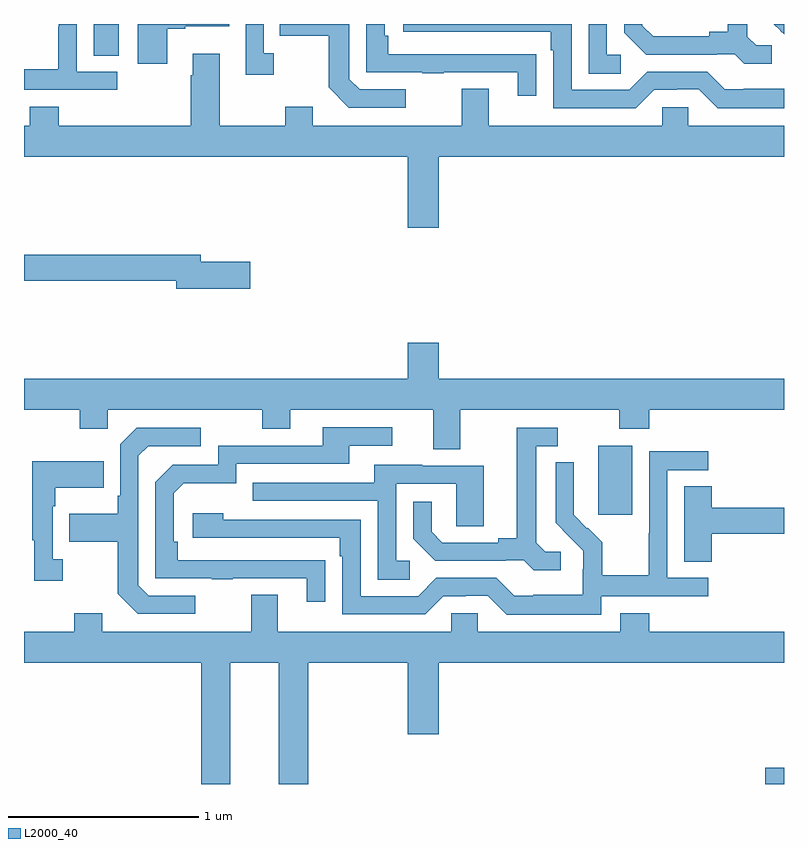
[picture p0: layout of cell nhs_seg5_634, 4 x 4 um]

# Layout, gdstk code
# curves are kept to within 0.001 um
import gdstk
lib = gdstk.Library(unit=1e-6, precision=1e-09)
def R(c, l, rs):  # rectangles x0, y0, x1, y1
    for r in rs: c.add(gdstk.rectangle(r[:2], r[2:], *l))
def P(c, l, *ps):  # polygons
    for p in ps: c.add(gdstk.Polygon(p, *l))
L2000_40 = (2000, 40)

nhs_seg5_634 = lib.new_cell('nhs_seg5_634')
R(nhs_seg5_634, L2000_40, [(154.902,846.799,155,846.884), (154.022,848.217,154.201,848.578), (151.367,850.633,151.498,850.799)])
P(nhs_seg5_634, L2000_40, [(151.753,850.775),(151.849,850.775),(151.849,850.787),(152.08,850.787),(152.08,850.799),(151.598,850.799),(151.598,850.59),(151.753,850.59)],
  [(153.01,850.455),(152.766,850.455),(152.712,850.509),(152.712,850.799),(152.347,850.799),(152.347,850.738),(152.604,850.738),(152.604,850.465),(152.709,850.359),(153.01,850.359)],
  [(152.314,850.646),(152.262,850.646),(152.262,850.799),(152.166,850.799),(152.166,850.533),(152.314,850.533)],
  [(155,850.459),(154.789,850.459),(154.789,850.455),(154.689,850.455),(154.596,850.548),(154.281,850.548),(154.185,850.452),(153.882,850.452),(153.882,850.799),(152.997,850.799),(152.997,850.758),(153.773,850.758),(153.773,850.661),(153.786,850.661),(153.786,850.356),(154.221,850.356),(154.317,850.452),(154.436,850.452),(154.436,850.455),(154.551,850.455),(154.651,850.355),(155,850.355)],
  [(155,850.799),(154.947,850.799),(154.981,850.765),(154.98,850.764),(155,850.744)],
  [(154.141,850.638),(154.068,850.638),(154.068,850.799),(153.972,850.799),(153.972,850.537),(154.141,850.537)],
  [(153.695,850.64),(153.593,850.64),(153.593,850.641),(152.918,850.641),(152.918,850.738),(152.898,850.738),(152.898,850.799),(152.802,850.799),(152.802,850.545),(153.097,850.545),(153.097,850.54),(153.209,850.54),(153.209,850.545),(153.599,850.545),(153.599,850.422),(153.695,850.422)],
  [(154.936,850.686),(154.854,850.686),(154.807,850.733),(154.807,850.799),(154.703,850.799),(154.703,850.757),(154.607,850.757),(154.607,850.734),(154.312,850.734),(154.255,850.791),(154.255,850.799),(154.158,850.799),(154.158,850.754),(154.274,850.638),(154.646,850.638),(154.646,850.641),(154.74,850.641),(154.792,850.589),(154.936,850.589)],
  [(151.492,850.548),(151.278,850.548),(151.278,850.799),(151.182,850.799),(151.182,850.784),(151.18,850.784),(151.18,850.561),(151,850.561),(151,850.452),(151.492,850.452)],
  [(153.184,850.1),(155,850.1),(155,850.264),(154.497,850.264),(154.497,850.362),(154.359,850.362),(154.359,850.264),(153.445,850.264),(153.445,850.459),(153.305,850.459),(153.305,850.264),(152.521,850.264),(152.521,850.363),(152.374,850.363),(152.374,850.264),(152.029,850.264),(152.029,850.642),(151.889,850.642),(151.889,850.529),(151.877,850.529),(151.877,850.264),(151.184,850.264),(151.184,850.363),(151.031,850.363),(151.031,850.264),(151,850.264),(151,850.1),(153.02,850.1),(153.02,849.726),(153.184,849.726)],
  [(152.191,849.548),(151.93,849.548),(151.93,849.584),(151,849.584),(151,849.448),(151.802,849.448),(151.802,849.406),(152.191,849.406)],
  [(153.184,849.121),(153.02,849.121),(153.02,848.932),(151,848.932),(151,848.768),(151.294,848.768),(151.294,848.669),(151.44,848.669),(151.44,848.768),(152.254,848.768),(152.254,848.669),(152.401,848.669),(152.401,848.768),(153.155,848.768),(153.155,848.56),(153.295,848.56),(153.295,848.768),(154.132,848.768),(154.132,848.669),(154.292,848.669),(154.292,848.768),(155,848.768),(155,848.932),(153.184,848.932)],
  [(152.585,847.976),(151.808,847.977),(151.808,848.074),(151.788,848.074),(151.788,848.328),(151.841,848.381),(152.118,848.381),(152.118,848.484),(152.713,848.484),(152.713,848.58),(152.938,848.58),(152.938,848.676),(152.573,848.676),(152.573,848.58),(152.022,848.58),(152.022,848.478),(151.782,848.478),(151.692,848.388),(151.692,847.881),(151.987,847.881),(151.987,847.876),(152.099,847.876),(152.099,847.881),(152.489,847.881),(152.489,847.758),(152.585,847.758)],
  [(151.9,847.791),(151.656,847.791),(151.602,847.845),(151.602,848.526),(151.653,848.577),(151.93,848.577),(151.93,848.673),(151.593,848.673),(151.506,848.586),(151.506,848.317),(151.494,848.317),(151.494,848.221),(151.237,848.221),(151.237,848.074),(151.494,848.074),(151.494,847.801),(151.599,847.695),(151.9,847.695)],
  [(153.826,848.022),(153.744,848.022),(153.697,848.069),(153.697,848.577),(153.808,848.577),(153.808,848.673),(153.593,848.673),(153.593,848.093),(153.497,848.093),(153.497,848.07),(153.202,848.07),(153.145,848.127),(153.145,848.284),(153.048,848.284),(153.048,848.09),(153.164,847.974),(153.536,847.974),(153.536,847.977),(153.63,847.977),(153.682,847.925),(153.826,847.925)],
  [(154.038,847.788),(154.6,847.788),(154.6,847.884),(154.386,847.884),(154.386,848.451),(154.6,848.451),(154.6,848.55),(154.29,848.55),(154.29,848.12),(154.288,848.12),(154.288,847.897),(154.043,847.897),(154.043,848.071),(153.966,848.148),(153.963,848.145),(153.893,848.216),(153.894,848.492),(153.798,848.492),(153.798,848.174),(153.944,848.026),(153.944,847.929),(153.942,847.929),(153.942,847.795),(153.679,847.795),(153.679,847.791),(153.579,847.791),(153.486,847.884),(153.171,847.884),(153.075,847.788),(152.772,847.788),(152.772,848.19),(152.048,848.19),(152.048,848.224),(151.887,848.224),(151.887,848.094),(152.663,848.094),(152.663,847.997),(152.676,847.997),(152.676,847.692),(153.111,847.692),(153.207,847.788),(153.326,847.788),(153.326,847.791),(153.441,847.791),(153.541,847.691),(154.038,847.691)],
  [(151.204,847.982),(151.152,847.982),(151.152,848.261),(151.165,848.261),(151.165,848.357),(151.421,848.357),(151.421,848.497),(151.044,848.497),(151.044,848.081),(151.055,848.081),(151.055,847.869),(151.204,847.869)],
  [(153.031,847.974),(152.958,847.974),(152.958,848.379),(153.276,848.379),(153.276,848.155),(153.421,848.155),(153.421,848.475),(153.097,848.475),(153.097,848.479),(152.843,848.479),(152.843,848.385),(152.203,848.385),(152.203,848.289),(152.862,848.289),(152.862,847.873),(153.031,847.873)],
  [(154.619,848.116),(155,848.116),(155,848.252),(154.619,848.252),(154.619,848.366),(154.475,848.366),(154.475,847.969),(154.619,847.969)],
  [(152.086,847.436),(152.342,847.436),(152.342,846.799),(152.495,846.799),(152.495,847.436),(153.02,847.436),(153.02,847.062),(153.184,847.062),(153.184,847.436),(155,847.436),(155,847.6),(154.292,847.6),(154.292,847.699),(154.139,847.699),(154.139,847.6),(153.387,847.6),(153.387,847.698),(153.249,847.698),(153.249,847.6),(152.335,847.6),(152.335,847.795),(152.195,847.795),(152.195,847.6),(151.411,847.6),(151.411,847.699),(151.264,847.699),(151.264,847.6),(151,847.6),(151,847.436),(151.934,847.436),(151.934,846.799),(152.086,846.799)])

lib.write_gds('nhs_seg5_634.gds')
